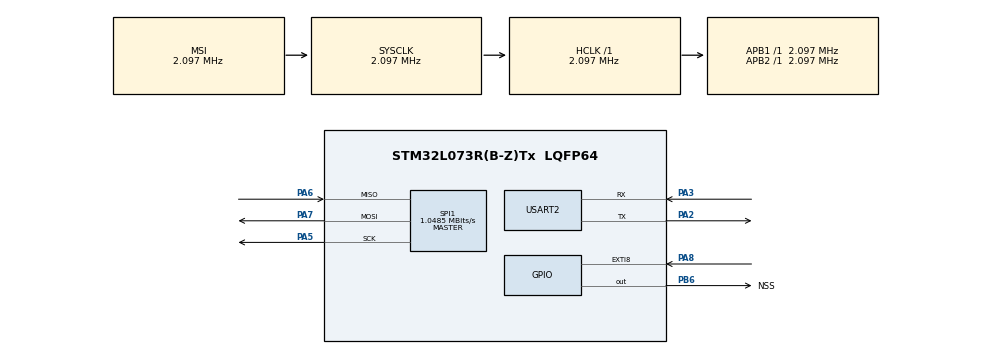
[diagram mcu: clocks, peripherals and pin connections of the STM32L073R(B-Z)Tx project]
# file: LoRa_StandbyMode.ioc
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Mcu.Family=STM32L0
Mcu.Name=STM32L073R(B-Z)Tx
Mcu.Package=LQFP64
NVIC.EXTI4_15_IRQn=true\:0\:0\:false\:false\:true\:true\:true
PA0.Mode=SYS_WakeUp0
PA0.Signal=SYS_WKUP1
PA13.Mode=Serial_Wire
PA13.Signal=SYS_SWDIO
PA14.Mode=Serial_Wire
PA14.Signal=SYS_SWCLK
PA2.Mode=Asynchronous
PA2.Signal=USART2_TX
PA3.Mode=Asynchronous
PA3.Signal=USART2_RX
PA5.Mode=Full_Duplex_Master
PA5.Signal=SPI1_SCK
PA6.Mode=Full_Duplex_Master
PA6.Signal=SPI1_MISO
PA7.Mode=Full_Duplex_Master
PA7.Signal=SPI1_MOSI
PA8.GPIO_PuPd=GPIO_PULLDOWN
PA8.Signal=GPXTI8
PB6.GPIO_Label=NSS
PB6.GPIO_PuPd=GPIO_PULLUP
PB6.Signal=GPIO_Output
ProjectManager.HeapSize=0x200
ProjectManager.StackSize=0x400
ProjectManager.TargetToolchain=STM32CubeIDE
RCC.AHBFreq_Value=2097000
RCC.APB1Freq_Value=2097000
RCC.APB1TimFreq_Value=2097000
RCC.APB2Freq_Value=2097000
RCC.APB2TimFreq_Value=2097000
RCC.HSE_VALUE=8000000
RCC.HSI16_VALUE=16000000
RCC.HSI48_VALUE=48000000
RCC.HSI_VALUE=16000000
RCC.LSE_VALUE=32768
RCC.MSI_VALUE=2097000
RCC.SYSCLKFreq_VALUE=2097000
RCC.VCOOutputFreq_Value=48000000
SPI1.CalculateBaudRate=1.0485 MBits/s
SPI1.Direction=SPI_DIRECTION_2LINES
SPI1.Mode=SPI_MODE_MASTER
SPI1.VirtualType=VM_MASTER
USART2.VirtualMode-Asynchronous=VM_ASYNC
board=custom

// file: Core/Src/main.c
/* USER CODE BEGIN Header */
/**
  ******************************************************************************
  * @file           : main.c
  * @brief          : Main program body
  ******************************************************************************
  * @attention
  *
  * Copyright (c) 2023 STMicroelectronics.
  * All rights reserved.
  *
  * This software is licensed under terms that can be found in the LICENSE file
  * in the root directory of this software component.
  * If no LICENSE file comes with this software, it is provided AS-IS.
  *
  ******************************************************************************
  */
/* USER CODE END Header */
#include "main.h"

/* USER CODE BEGIN Includes */
#include "string.h"
#include "rfm95.h"
#include "stdio.h"
/* USER CODE END Includes */

/* USER CODE BEGIN PTD */
uint8_t size = 50;
uint8_t rx[200] = { 0 };
char buffer[255] = {0} ;
uint8_t Buff[25] = "Chao NGUYEN VIET THAN \n";
/* USER CODE END PTD */

/* USER CODE BEGIN PM */
RFM95_HandleTypedef RFM95;
/* USER CODE END PM */

SPI_HandleTypeDef hspi1;

UART_HandleTypeDef huart2;

void SystemClock_Config(void);
static void MX_GPIO_Init(void);
static void MX_SPI1_Init(void);
static void MX_USART2_UART_Init(void);

/* USER CODE BEGIN 0 */
int _write(int file, char *ptr, int len)
{
	HAL_UART_Transmit(&huart2, (uint8_t*) ptr, len, 10000);

	return len;
}
void HAL_GPIO_EXTI_Callback(uint16_t GPIO_Pin){
	if(GPIO_Pin == GPIO_PIN_8){
		RFM95_Receive(&RFM95, rx, sizeof(rx));
		sprintf(buffer,"Data receive: %s \n",rx);
		HAL_UART_Transmit(&huart2,(uint8_t*)buffer ,sizeof(buffer), 1000);
	}
}
/* USER CODE END 0 */

int main(void)
{

  /* MCU Configuration--------------------------------------------------------*/

  /* Reset of all peripherals, Initializes the Flash interface and the Systick. */
  HAL_Init();

  /* Configure the system clock */
  SystemClock_Config();

  /* Initialize all configured peripherals */
  MX_GPIO_Init();
  MX_SPI1_Init();
  MX_USART2_UART_Init();
  /* USER CODE BEGIN 2 */

	RFM95.Module.NSS.Port = GPIOB;
	RFM95.Module.NSS.Pin = GPIO_PIN_6;
	RFM95.Module.SPI = &hspi1;

	if(__HAL_PWR_GET_FLAG(PWR_FLAG_WU) == 1)
	{
		  __HAL_PWR_CLEAR_FLAG(PWR_FLAG_SB);
		  __HAL_PWR_CLEAR_FLAG(PWR_FLAG_WU);
			RFM95_Receive(&RFM95, rx, sizeof(rx));
			sprintf(buffer,"Data receive from WAKE UP: %s \n",rx);
			HAL_UART_Transmit(&huart2,(uint8_t*)buffer ,sizeof(buffer), 1000);

	  }
	  else
	  {

			RFM95.Frequency = 865;
			RFM95.SpredingFactor = SF12;
			RFM95.BandWidth = BW_500;
			RFM95.CodingRate = CR_48;
			RFM95.Power = PW_10DBM;
			RFM95.Preamble = 8;
			RFM95.LNA = LNA_G1;
			RFM95.Timeout = 1023;

			RFM95_Init(&RFM95);
			RFM95_enableReceive(&RFM95);
			HAL_Delay(5000);
	  }
	  HAL_PWR_EnableWakeUpPin(PWR_WAKEUP_PIN1);

  /* USER CODE END 2 */

  /* Infinite loop */
  while (1)
  {

    /* USER CODE BEGIN 3 */

	  RFM95_Transmit(&RFM95,(uint8_t*) Buff,sizeof(Buff),1000);
	  printf("Go to standby mode after 2 second");
	  HAL_Delay(2000);
	  HAL_PWR_EnterSTANDBYMode();
  }
  /* USER CODE END 3 */
}

void SystemClock_Config(void)
{
  RCC_OscInitTypeDef RCC_OscInitStruct = {0};
  RCC_ClkInitTypeDef RCC_ClkInitStruct = {0};
  RCC_PeriphCLKInitTypeDef PeriphClkInit = {0};

  /** Configure the main internal regulator output voltage
  */
  __HAL_PWR_VOLTAGESCALING_CONFIG(PWR_REGULATOR_VOLTAGE_SCALE1);
  /** Initializes the RCC Oscillators according to the specified parameters
  * in the RCC_OscInitTypeDef structure.
  */
  RCC_OscInitStruct.OscillatorType = RCC_OSCILLATORTYPE_MSI;
  RCC_OscInitStruct.MSIState = RCC_MSI_ON;
  RCC_OscInitStruct.MSICalibrationValue = 0;
  RCC_OscInitStruct.MSIClockRange = RCC_MSIRANGE_5;
  RCC_OscInitStruct.PLL.PLLState = RCC_PLL_NONE;
  if (HAL_RCC_OscConfig(&RCC_OscInitStruct) != HAL_OK)
  {
    Error_Handler();
  }
  /** Initializes the CPU, AHB and APB buses clocks
  */
  RCC_ClkInitStruct.ClockType = RCC_CLOCKTYPE_HCLK|RCC_CLOCKTYPE_SYSCLK
                              |RCC_CLOCKTYPE_PCLK1|RCC_CLOCKTYPE_PCLK2;
  RCC_ClkInitStruct.SYSCLKSource = RCC_SYSCLKSOURCE_MSI;
  RCC_ClkInitStruct.AHBCLKDivider = RCC_SYSCLK_DIV1;
  RCC_ClkInitStruct.APB1CLKDivider = RCC_HCLK_DIV1;
  RCC_ClkInitStruct.APB2CLKDivider = RCC_HCLK_DIV1;

  if (HAL_RCC_ClockConfig(&RCC_ClkInitStruct, FLASH_LATENCY_0) != HAL_OK)
  {
    Error_Handler();
  }
  PeriphClkInit.PeriphClockSelection = RCC_PERIPHCLK_USART2;
  PeriphClkInit.Usart2ClockSelection = RCC_USART2CLKSOURCE_PCLK1;
  if (HAL_RCCEx_PeriphCLKConfig(&PeriphClkInit) != HAL_OK)
  {
    Error_Handler();
  }
}

static void MX_SPI1_Init(void)
{

  /* SPI1 parameter configuration*/
  hspi1.Instance = SPI1;
  hspi1.Init.Mode = SPI_MODE_MASTER;
  hspi1.Init.Direction = SPI_DIRECTION_2LINES;
  hspi1.Init.DataSize = SPI_DATASIZE_8BIT;
  hspi1.Init.CLKPolarity = SPI_POLARITY_LOW;
  hspi1.Init.CLKPhase = SPI_PHASE_1EDGE;
  hspi1.Init.NSS = SPI_NSS_SOFT;
  hspi1.Init.BaudRatePrescaler = SPI_BAUDRATEPRESCALER_2;
  hspi1.Init.FirstBit = SPI_FIRSTBIT_MSB;
  hspi1.Init.TIMode = SPI_TIMODE_DISABLE;
  hspi1.Init.CRCCalculation = SPI_CRCCALCULATION_DISABLE;
  hspi1.Init.CRCPolynomial = 7;
  if (HAL_SPI_Init(&hspi1) != HAL_OK)
  {
    Error_Handler();
  }

}

static void MX_USART2_UART_Init(void)
{

  huart2.Instance = USART2;
  huart2.Init.BaudRate = 115200;
  huart2.Init.WordLength = UART_WORDLENGTH_8B;
  huart2.Init.StopBits = UART_STOPBITS_1;
  huart2.Init.Parity = UART_PARITY_NONE;
  huart2.Init.Mode = UART_MODE_TX_RX;
  huart2.Init.HwFlowCtl = UART_HWCONTROL_NONE;
  huart2.Init.OverSampling = UART_OVERSAMPLING_16;
  huart2.Init.OneBitSampling = UART_ONE_BIT_SAMPLE_DISABLE;
  huart2.AdvancedInit.AdvFeatureInit = UART_ADVFEATURE_NO_INIT;
  if (HAL_UART_Init(&huart2) != HAL_OK)
  {
    Error_Handler();
  }

}

static void MX_GPIO_Init(void)
{
  GPIO_InitTypeDef GPIO_InitStruct = {0};

  /* GPIO Ports Clock Enable */
  __HAL_RCC_GPIOA_CLK_ENABLE();
  __HAL_RCC_GPIOB_CLK_ENABLE();

  /*Configure GPIO pin Output Level */
  HAL_GPIO_WritePin(NSS_GPIO_Port, NSS_Pin, GPIO_PIN_RESET);

  /*Configure GPIO pin : PA8 */
  GPIO_InitStruct.Pin = GPIO_PIN_8;
  GPIO_InitStruct.Mode = GPIO_MODE_IT_RISING;
  GPIO_InitStruct.Pull = GPIO_PULLDOWN;
  HAL_GPIO_Init(GPIOA, &GPIO_InitStruct);

  /*Configure GPIO pin : NSS_Pin */
  GPIO_InitStruct.Pin = NSS_Pin;
  GPIO_InitStruct.Mode = GPIO_MODE_OUTPUT_PP;
  GPIO_InitStruct.Pull = GPIO_PULLUP;
  GPIO_InitStruct.Speed = GPIO_SPEED_FREQ_LOW;
  HAL_GPIO_Init(NSS_GPIO_Port, &GPIO_InitStruct);

  /* EXTI interrupt init*/
  HAL_NVIC_SetPriority(EXTI4_15_IRQn, 0, 0);
  HAL_NVIC_EnableIRQ(EXTI4_15_IRQn);

}

void Error_Handler(void)
{
  __disable_irq();
  while (1)
  {
  }
}
